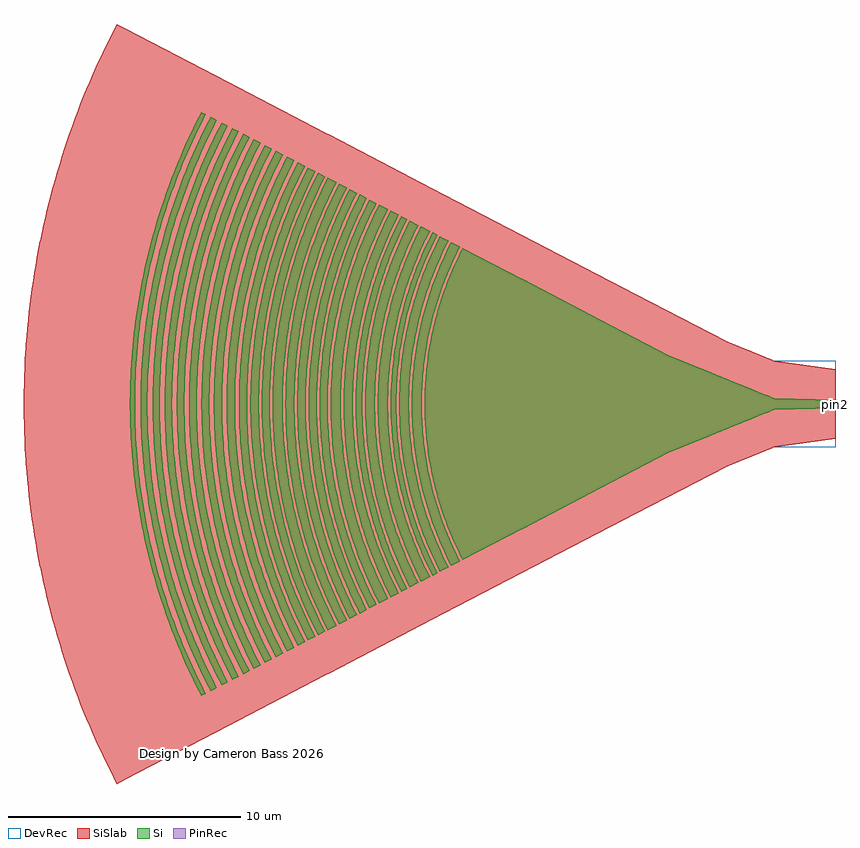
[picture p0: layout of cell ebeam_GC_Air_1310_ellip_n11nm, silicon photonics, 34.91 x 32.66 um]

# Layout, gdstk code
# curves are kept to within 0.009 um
import gdstk
lib = gdstk.Library(unit=1e-6, precision=1e-09)
def P(c, l, *ps):  # polygons
    for p in ps: c.add(gdstk.Polygon(p, *l))
Si = (1, 0)
PinRec = (1, 10)
SiSlab = (2, 0)
DevRec = (68, 0)

ebeam_gc_air_1310_ellip_ = lib.new_cell('ebeam_GC_Air_1310_ellip_n11nm')
P(ebeam_gc_air_1310_ellip_, Si, [(-16.043,-6.701),(-16.457,-5.836),(-16.774,-5.049),(-17.003,-4.381),(-17.267,-3.428),(-17.443,-2.599),(-17.57,-1.762),(-17.648,-0.917),(-17.676,-0.071),(-17.648,0.917),(-17.57,1.762),(-17.443,2.6),(-17.267,3.428),(-17.003,4.381),(-16.774,5.049),(-16.457,5.836),(-16.043,6.701),(-7.156,2.073),(-3.189,0.454),(-2.881,0.34),(-2.696,0.252),(-2.651,0.239),(0,0.175),(0,-0.175),(-2.664,-0.241),(-2.865,-0.333),(-3.204,-0.46),(-7.127,-2.06)],
  [(-16.535,-6.956),(-16.903,-6.194),(-17.24,-5.381),(-17.529,-4.55),(-17.768,-3.703),(-17.959,-2.844),(-18.099,-1.975),(-18.198,-0.953),(-18.228,-0.073),(-18.207,0.806),(-18.134,1.684),(-18.011,2.555),(-17.837,3.419),(-17.613,4.269),(-17.342,5.106),(-16.962,6.061),(-16.535,6.957),(-16.152,6.757),(-16.511,6.014),(-16.888,5.092),(-17.161,4.282),(-17.386,3.458),(-17.563,2.622),(-17.691,1.776),(-17.778,0.784),(-17.798,0.071),(-17.778,-0.784),(-17.691,-1.776),(-17.563,-2.621),(-17.386,-3.458),(-17.161,-4.282),(-16.888,-5.092),(-16.511,-6.014),(-16.152,-6.757)],
  [(-17.016,-7.207),(-17.397,-6.418),(-17.746,-5.576),(-18.045,-4.715),(-18.293,-3.837),(-18.49,-2.947),(-18.635,-2.047),(-18.728,-1.139),(-18.755,-0.683),(-18.769,-0.076),(-18.747,0.835),(-18.672,1.745),(-18.615,2.197),(-18.518,2.797),(-18.329,3.689),(-18.175,4.278),(-18.044,4.715),(-17.746,5.576),(-17.397,6.418),(-17.016,7.207),(-16.643,7.013),(-17.014,6.245),(-17.405,5.287),(-17.689,4.445),(-17.923,3.59),(-18.106,2.722),(-18.239,1.844),(-18.32,0.961),(-18.35,0.074),(-18.329,-0.813),(-18.239,-1.844),(-18.106,-2.722),(-17.923,-3.59),(-17.689,-4.445),(-17.405,-5.287),(-17.074,-6.109),(-16.891,-6.514),(-16.643,-7.013)],
  [(-17.336,-7.374),(-17.726,-6.566),(-18.083,-5.705),(-18.389,-4.824),(-18.643,-3.926),(-18.845,-3.015),(-18.926,-2.555),(-19.013,-1.94),(-19.099,-1.01),(-19.13,-0.078),(-19.108,0.855),(-19.013,1.94),(-18.873,2.862),(-18.68,3.775),(-18.434,4.675),(-18.138,5.559),(-17.789,6.425),(-17.336,7.374),(-17.125,7.263),(-17.57,6.328),(-17.804,5.763),(-17.965,5.333),(-18.293,4.311),(-18.412,3.868),(-18.55,3.27),(-18.714,2.366),(-18.81,1.606),(-18.869,0.843),(-18.891,0.077),(-18.869,-0.843),(-18.81,-1.606),(-18.714,-2.366),(-18.55,-3.27),(-18.412,-3.867),(-18.293,-4.311),(-17.965,-5.332),(-17.57,-6.328),(-17.125,-7.263)],
  [(-17.832,-7.632),(-18.3,-6.65),(-18.661,-5.754),(-18.968,-4.839),(-19.222,-3.907),(-19.422,-2.962),(-19.566,-2.008),(-19.655,-1.045),(-19.688,-0.08),(-19.664,0.885),(-19.585,1.848),(-19.45,2.804),(-19.329,3.437),(-19.222,3.907),(-18.968,4.839),(-18.661,5.754),(-18.3,6.65),(-17.832,7.632),(-17.445,7.43),(-17.837,6.618),(-18.196,5.749),(-18.505,4.86),(-18.762,3.957),(-18.994,2.884),(-19.134,1.954),(-19.198,1.331),(-19.23,0.862),(-19.252,0.078),(-19.23,-0.862),(-19.198,-1.331),(-19.134,-1.954),(-18.994,-2.884),(-18.799,-3.804),(-18.552,-4.711),(-18.251,-5.602),(-17.901,-6.474),(-17.445,-7.43)],
  [(-18.312,-7.882),(-18.59,-7.321),(-18.796,-6.867),(-19.168,-5.942),(-19.487,-4.997),(-19.748,-4.034),(-19.954,-3.059),(-20.104,-2.073),(-20.195,-1.08),(-20.229,-0.083),(-20.205,0.914),(-20.123,1.908),(-19.983,2.895),(-19.787,3.873),(-19.487,4.997),(-19.168,5.942),(-18.796,6.868),(-18.59,7.321),(-18.312,7.882),(-17.942,7.689),(-18.348,6.847),(-18.54,6.401),(-18.776,5.797),(-19.087,4.875),(-19.343,3.937),(-19.544,2.984),(-19.689,2.022),(-19.779,1.054),(-19.812,0.081),(-19.788,-0.892),(-19.708,-1.861),(-19.572,-2.825),(-19.483,-3.303),(-19.343,-3.936),(-19.087,-4.874),(-18.776,-5.797),(-18.54,-6.4),(-18.348,-6.847),(-17.942,-7.689)],
  [(-18.674,-8.07),(-19.101,-7.185),(-19.492,-6.242),(-19.827,-5.278),(-20.018,-4.625),(-20.145,-4.13),(-20.356,-3.132),(-20.509,-2.122),(-20.603,-1.105),(-20.637,-0.085),(-20.613,0.935),(-20.529,1.954),(-20.386,2.964),(-20.258,3.633),(-20.145,4.13),(-20.018,4.625),(-19.826,5.278),(-19.492,6.242),(-19.101,7.186),(-18.674,8.07),(-18.421,7.939),(-18.841,7.07),(-19.102,6.453),(-19.34,5.828),(-19.503,5.352),(-19.698,4.712),(-19.828,4.227),(-19.979,3.574),(-20.158,2.586),(-20.263,1.755),(-20.328,0.921),(-20.352,0.084),(-20.328,-0.921),(-20.263,-1.755),(-20.158,-2.586),(-20.013,-3.41),(-19.907,-3.9),(-19.743,-4.55),(-19.604,-5.032),(-19.396,-5.67),(-19.164,-6.297),(-18.975,-6.762),(-18.701,-7.374),(-18.421,-7.938)],
  [(-19.132,-8.309),(-19.426,-7.716),(-19.643,-7.238),(-20.036,-6.263),(-20.37,-5.267),(-20.647,-4.252),(-20.864,-3.224),(-21.022,-2.185),(-21.118,-1.138),(-21.154,-0.088),(-21.144,0.614),(-21.118,1.138),(-21.022,2.185),(-20.864,3.224),(-20.647,4.252),(-20.37,5.267),(-20.036,6.263),(-19.643,7.239),(-19.426,7.716),(-19.132,8.309),(-18.784,8.127),(-19.214,7.236),(-19.482,6.605),(-19.666,6.126),(-19.995,5.151),(-20.266,4.16),(-20.478,3.154),(-20.632,2.137),(-20.726,1.114),(-20.761,0.086),(-20.736,-0.943),(-20.652,-1.967),(-20.508,-2.985),(-20.414,-3.49),(-20.266,-4.16),(-19.995,-5.151),(-19.666,-6.126),(-19.482,-6.605),(-19.214,-7.236),(-18.784,-8.127)],
  [(-19.631,-8.569),(-20.083,-7.631),(-20.498,-6.63),(-20.853,-5.606),(-21.148,-4.562),(-21.382,-3.504),(-21.555,-2.433),(-21.665,-1.354),(-21.696,-0.814),(-21.714,-0.09),(-21.688,0.993),(-21.598,2.075),(-21.447,3.148),(-21.311,3.858),(-21.191,4.387),(-20.906,5.433),(-20.741,5.95),(-20.498,6.63),(-20.083,7.631),(-19.631,8.569),(-19.242,8.366),(-19.684,7.449),(-20.089,6.471),(-20.269,5.974),(-20.489,5.303),(-20.725,4.453),(-20.953,3.42),(-21.122,2.375),(-21.2,1.674),(-21.241,1.146),(-21.277,0.088),(-21.272,-0.441),(-21.241,-1.146),(-21.144,-2.199),(-20.986,-3.246),(-20.767,-4.282),(-20.489,-5.302),(-20.269,-5.974),(-20.089,-6.471),(-19.756,-7.287),(-19.537,-7.769),(-19.242,-8.366)],
  [(-20.046,-8.785),(-20.511,-7.821),(-20.936,-6.795),(-21.301,-5.745),(-21.603,-4.675),(-21.843,-3.591),(-22.02,-2.494),(-22.133,-1.388),(-22.165,-0.833),(-22.183,-0.093),(-22.156,1.018),(-22.065,2.126),(-21.995,2.677),(-21.877,3.409),(-21.647,4.496),(-21.459,5.213),(-21.301,5.745),(-21.001,6.621),(-20.586,7.653),(-20.356,8.158),(-20.046,8.785),(-19.744,8.627),(-19.969,8.177),(-20.273,7.516),(-20.484,7.013),(-20.742,6.333),(-20.974,5.643),(-21.18,4.945),(-21.315,4.417),(-21.473,3.705),(-21.63,2.81),(-21.744,1.907),(-21.815,1.001),(-21.841,0.091),(-21.831,-0.636),(-21.762,-1.726),(-21.657,-2.63),(-21.473,-3.705),(-21.315,-4.416),(-21.18,-4.945),(-20.974,-5.642),(-20.742,-6.333),(-20.484,-7.012),(-20.273,-7.515),(-19.969,-8.177),(-19.744,-8.627)],
  [(-20.466,-9.004),(-20.944,-8.014),(-21.38,-6.962),(-21.753,-5.887),(-22.063,-4.791),(-22.194,-4.237),(-22.344,-3.493),(-22.514,-2.367),(-22.619,-1.233),(-22.658,-0.095),(-22.63,1.043),(-22.536,2.179),(-22.377,3.306),(-22.273,3.866),(-22.108,4.607),(-21.916,5.341),(-21.753,5.887),(-21.38,6.962),(-20.944,8.015),(-20.466,9.004),(-20.156,8.842),(-20.468,8.211),(-20.773,7.53),(-21.051,6.839),(-21.242,6.313),(-21.473,5.604),(-21.628,5.067),(-21.768,4.525),(-21.929,3.797),(-22.09,2.879),(-22.207,1.954),(-22.279,1.025),(-22.306,0.093),(-22.288,-0.838),(-22.225,-1.769),(-22.117,-2.695),(-21.929,-3.797),(-21.768,-4.525),(-21.628,-5.067),(-21.418,-5.782),(-21.242,-6.313),(-20.984,-7.012),(-20.773,-7.53),(-20.468,-8.211),(-20.156,-8.842)],
  [(-20.901,-9.23),(-21.392,-8.212),(-21.838,-7.135),(-22.221,-6.033),(-22.539,-4.91),(-22.673,-4.342),(-22.827,-3.579),(-23.002,-2.426),(-23.109,-1.263),(-23.148,-0.097),(-23.143,0.487),(-23.109,1.263),(-23.002,2.426),(-22.827,3.58),(-22.585,4.721),(-22.278,5.847),(-21.907,6.953),(-21.471,8.036),(-21.145,8.742),(-20.901,9.23),(-20.58,9.062),(-20.902,8.412),(-21.214,7.714),(-21.499,7.006),(-21.695,6.468),(-21.932,5.741),(-22.091,5.191),(-22.234,4.636),(-22.399,3.89),(-22.564,2.95),(-22.684,2.002),(-22.758,1.051),(-22.786,0.096),(-22.767,-0.859),(-22.703,-1.812),(-22.592,-2.761),(-22.399,-3.89),(-22.234,-4.636),(-22.091,-5.191),(-21.932,-5.741),(-21.695,-6.468),(-21.499,-7.006),(-21.214,-7.714),(-20.902,-8.412),(-20.58,-9.062)],
  [(-21.352,-9.465),(-21.689,-8.785),(-21.936,-8.24),(-22.168,-7.688),(-22.383,-7.13),(-22.706,-6.187),(-22.93,-5.421),(-23.079,-4.841),(-23.327,-3.671),(-23.506,-2.488),(-23.616,-1.295),(-23.645,-0.698),(-23.656,-0.1),(-23.651,0.499),(-23.616,1.296),(-23.506,2.488),(-23.327,3.671),(-23.079,4.841),(-22.93,5.421),(-22.706,6.187),(-22.383,7.13),(-22.168,7.689),(-21.936,8.241),(-21.689,8.785),(-21.352,9.465),(-21.01,9.286),(-21.256,8.796),(-21.583,8.084),(-21.81,7.543),(-22.088,6.812),(-22.278,6.256),(-22.507,5.507),(-22.705,4.75),(-22.875,3.986),(-23.044,3.023),(-23.167,2.051),(-23.243,1.076),(-23.271,0.098),(-23.252,-0.88),(-23.186,-1.857),(-23.073,-2.829),(-22.875,-3.985),(-22.705,-4.75),(-22.507,-5.507),(-22.338,-6.069),(-22.088,-6.812),(-21.81,-7.543),(-21.583,-8.084),(-21.34,-8.619),(-21.01,-9.286)],
  [(-21.84,-9.718),(-22.096,-9.207),(-22.438,-8.463),(-22.676,-7.896),(-22.897,-7.322),(-23.229,-6.354),(-23.459,-5.567),(-23.612,-4.972),(-23.748,-4.373),(-23.866,-3.77),(-24.05,-2.555),(-24.163,-1.33),(-24.193,-0.717),(-24.204,-0.102),(-24.175,1.126),(-24.074,2.352),(-23.967,3.163),(-23.866,3.77),(-23.748,4.373),(-23.612,4.972),(-23.459,5.568),(-23.229,6.354),(-22.897,7.323),(-22.676,7.896),(-22.438,8.463),(-22.096,9.207),(-21.84,9.719),(-21.461,9.521),(-21.967,8.473),(-22.281,7.734),(-22.498,7.173),(-22.882,6.032),(-23.199,4.871),(-23.448,3.693),(-23.628,2.502),(-23.692,1.904),(-23.738,1.304),(-23.779,0.1),(-23.76,-0.902),(-23.692,-1.904),(-23.575,-2.901),(-23.411,-3.89),(-23.29,-4.479),(-23.101,-5.26),(-22.882,-6.032),(-22.633,-6.795),(-22.355,-7.548),(-22.128,-8.105),(-21.8,-8.838),(-21.461,-9.521)],
  [(-22.254,-9.934),(-22.516,-9.41),(-22.866,-8.65),(-23.262,-7.68),(-23.674,-6.494),(-23.853,-5.892),(-24.066,-5.082),(-24.325,-3.853),(-24.428,-3.233),(-24.513,-2.611),(-24.58,-1.986),(-24.629,-1.36),(-24.659,-0.733),(-24.671,-0.105),(-24.665,0.524),(-24.641,1.151),(-24.538,2.403),(-24.459,3.026),(-24.362,3.647),(-24.247,4.265),(-24.066,5.082),(-23.735,6.294),(-23.544,6.892),(-23.262,7.68),(-23.03,8.265),(-22.781,8.842),(-22.254,9.934),(-21.949,9.775),(-22.295,9.075),(-22.55,8.512),(-22.865,7.751),(-23.082,7.172),(-23.282,6.587),(-23.522,5.799),(-23.682,5.202),(-23.868,4.398),(-23.987,3.792),(-24.088,3.182),(-24.217,2.16),(-24.297,1.133),(-24.327,0.103),(-24.297,-1.133),(-24.217,-2.16),(-24.088,-3.182),(-23.987,-3.792),(-23.868,-4.398),(-23.682,-5.202),(-23.522,-5.798),(-23.345,-6.39),(-23.082,-7.172),(-22.789,-7.942),(-22.55,-8.511),(-22.295,-9.075),(-21.949,-9.775)],
  [(-22.688,-10.16),(-22.958,-9.622),(-23.229,-9.039),(-23.484,-8.45),(-23.721,-7.853),(-24.142,-6.64),(-24.383,-5.818),(-24.543,-5.196),(-24.685,-4.57),(-24.808,-3.94),(-24.914,-3.306),(-25.001,-2.67),(-25.069,-2.031),(-25.119,-1.39),(-25.15,-0.75),(-25.162,-0.107),(-25.156,0.536),(-25.131,1.177),(-25.088,1.818),(-25.026,2.457),(-24.945,3.095),(-24.846,3.729),(-24.685,4.57),(-24.543,5.196),(-24.383,5.818),(-24.204,6.436),(-24.009,7.048),(-23.796,7.653),(-23.565,8.252),(-23.316,8.845),(-22.958,9.622),(-22.688,10.16),(-22.366,9.992),(-22.721,9.275),(-22.982,8.699),(-23.304,7.921),(-23.525,7.33),(-23.794,6.531),(-23.975,5.926),(-24.139,5.316),(-24.329,4.495),(-24.521,3.461),(-24.664,2.417),(-24.755,1.368),(-24.786,0.737),(-24.798,0.105),(-24.778,-0.947),(-24.741,-1.578),(-24.686,-2.207),(-24.554,-3.252),(-24.329,-4.495),(-24.139,-5.316),(-23.975,-5.926),(-23.794,-6.531),(-23.525,-7.33),(-23.304,-7.921),(-22.982,-8.699),(-22.721,-9.275),(-22.366,-9.992)],
  [(-23.12,-10.385),(-23.399,-9.829),(-23.676,-9.234),(-23.936,-8.632),(-24.179,-8.022),(-24.61,-6.783),(-24.967,-5.52),(-25.118,-4.883),(-25.251,-4.24),(-25.365,-3.593),(-25.46,-2.944),(-25.536,-2.293),(-25.608,-1.42),(-25.64,-0.766),(-25.652,-0.109),(-25.646,0.547),(-25.621,1.202),(-25.576,1.857),(-25.513,2.51),(-25.43,3.161),(-25.291,4.025),(-25.164,4.669),(-25.019,5.308),(-24.797,6.155),(-24.61,6.783),(-24.256,7.818),(-24.019,8.43),(-23.765,9.035),(-23.494,9.632),(-23.12,10.385),(-22.814,10.226),(-23.179,9.487),(-23.532,8.701),(-23.776,8.103),(-24.002,7.498),(-24.277,6.681),(-24.463,6.062),(-24.682,5.229),(-24.825,4.598),(-25.022,3.54),(-25.115,2.9),(-25.19,2.258),(-25.273,1.185),(-25.305,0.108),(-25.284,-0.969),(-25.246,-1.614),(-25.19,-2.258),(-25.022,-3.54),(-24.825,-4.598),(-24.682,-5.229),(-24.463,-6.062),(-24.277,-6.681),(-24.002,-7.498),(-23.776,-8.103),(-23.446,-8.898),(-23.179,-9.487),(-22.814,-10.225)],
  [(-23.589,-10.63),(-23.878,-10.054),(-24.162,-9.446),(-24.428,-8.83),(-24.676,-8.206),(-24.906,-7.575),(-25.117,-6.939),(-25.309,-6.295),(-25.483,-5.647),(-25.638,-4.994),(-25.773,-4.337),(-25.925,-3.454),(-26.016,-2.79),(-26.087,-2.122),(-26.139,-1.453),(-26.172,-0.783),(-26.185,-0.112),(-26.178,0.56),(-26.152,1.23),(-26.107,1.9),(-26.042,2.568),(-25.957,3.234),(-25.853,3.897),(-25.685,4.776),(-25.536,5.43),(-25.369,6.08),(-25.182,6.725),(-24.978,7.365),(-24.755,7.997),(-24.513,8.623),(-24.253,9.242),(-23.975,9.853),(-23.589,10.63),(-23.272,10.464),(-23.649,9.703),(-23.922,9.101),(-24.178,8.492),(-24.491,7.669),(-24.705,7.043),(-24.963,6.2),(-25.187,5.348),(-25.333,4.703),(-25.535,3.62),(-25.684,2.528),(-25.747,1.871),(-25.792,1.212),(-25.824,0.11),(-25.803,-0.991),(-25.765,-1.651),(-25.707,-2.309),(-25.569,-3.403),(-25.46,-4.054),(-25.333,-4.703),(-25.187,-5.348),(-24.963,-6.2),(-24.705,-7.042),(-24.491,-7.668),(-24.178,-8.492),(-23.922,-9.101),(-23.649,-9.703),(-23.272,-10.464)],
  [(-24.072,-10.881),(-24.371,-10.286),(-24.661,-9.663),(-24.934,-9.033),(-25.188,-8.395),(-25.423,-7.75),(-25.639,-7.098),(-25.897,-6.22),(-26.068,-5.555),(-26.22,-4.886),(-26.353,-4.212),(-26.466,-3.534),(-26.559,-2.854),(-26.632,-2.171),(-26.685,-1.486),(-26.719,-0.801),(-26.732,-0.114),(-26.725,0.573),(-26.699,1.258),(-26.652,1.943),(-26.559,2.855),(-26.466,3.534),(-26.353,4.212),(-26.22,4.886),(-26.068,5.555),(-25.897,6.22),(-25.706,6.88),(-25.497,7.534),(-25.188,8.395),(-24.934,9.034),(-24.661,9.664),(-24.371,10.286),(-24.072,10.881),(-23.76,10.718),(-24.052,10.136),(-24.338,9.523),(-24.691,8.693),(-24.935,8.062),(-25.16,7.424),(-25.433,6.563),(-25.614,5.912),(-25.827,5.034),(-25.963,4.372),(-26.081,3.706),(-26.234,2.588),(-26.332,1.465),(-26.365,0.789),(-26.378,0.113),(-26.356,-1.014),(-26.316,-1.69),(-26.258,-2.364),(-26.116,-3.483),(-26.005,-4.15),(-25.874,-4.814),(-25.725,-5.474),(-25.495,-6.346),(-25.301,-6.994),(-25.012,-7.85),(-24.775,-8.483),(-24.429,-9.316),(-24.052,-10.136),(-23.76,-10.718)],
  [(-24.542,-11.126),(-24.85,-10.514),(-25.147,-9.877),(-25.426,-9.233),(-25.685,-8.581),(-25.926,-7.921),(-26.147,-7.256),(-26.41,-6.358),(-26.586,-5.678),(-26.741,-4.994),(-26.877,-4.305),(-26.992,-3.612),(-27.087,-2.918),(-27.162,-2.219),(-27.217,-1.519),(-27.251,-0.819),(-27.264,-0.117),(-27.251,0.819),(-27.217,1.52),(-27.162,2.22),(-27.087,2.918),(-26.992,3.612),(-26.877,4.305),(-26.741,4.994),(-26.586,5.678),(-26.41,6.358),(-26.147,7.256),(-25.926,7.921),(-25.685,8.581),(-25.426,9.234),(-25.147,9.878),(-24.85,10.514),(-24.542,11.126),(-24.241,10.969),(-24.643,10.16),(-24.93,9.529),(-25.198,8.891),(-25.526,8.029),(-25.821,7.154),(-26.02,6.492),(-26.2,5.823),(-26.408,4.924),(-26.62,3.791),(-26.776,2.647),(-26.877,1.499),(-26.91,0.807),(-26.923,0.115),(-26.917,-0.576),(-26.89,-1.269),(-26.8,-2.418),(-26.72,-3.105),(-26.62,-3.791),(-26.408,-4.924),(-26.2,-5.823),(-26.02,-6.491),(-25.821,-7.154),(-25.526,-8.029),(-25.198,-8.891),(-24.93,-9.529),(-24.643,-10.16),(-24.241,-10.969)],
  [(-25.015,-11.372),(-25.331,-10.744),(-25.635,-10.094),(-25.919,-9.436),(-26.185,-8.769),(-26.43,-8.095),(-26.656,-7.415),(-26.862,-6.727),(-27.048,-6.034),(-27.264,-5.103),(-27.403,-4.399),(-27.52,-3.691),(-27.618,-2.982),(-27.694,-2.268),(-27.75,-1.553),(-27.785,-0.837),(-27.799,-0.12),(-27.792,0.598),(-27.764,1.314),(-27.715,2.03),(-27.646,2.744),(-27.555,3.455),(-27.403,4.399),(-27.264,5.104),(-27.105,5.802),(-26.926,6.497),(-26.726,7.187),(-26.508,7.869),(-26.185,8.769),(-25.919,9.436),(-25.635,10.094),(-25.331,10.744),(-25.015,11.372),(-24.721,11.219),(-25.134,10.388),(-25.427,9.743),(-25.701,9.091),(-26.037,8.21),(-26.266,7.54),(-26.477,6.864),(-26.667,6.183),(-26.889,5.265),(-27.117,4.109),(-27.226,3.41),(-27.315,2.707),(-27.384,2.003),(-27.432,1.297),(-27.466,0.118),(-27.459,-0.589),(-27.432,-1.297),(-27.34,-2.472),(-27.192,-3.643),(-27.076,-4.341),(-26.939,-5.035),(-26.726,-5.954),(-26.542,-6.637),(-26.339,-7.315),(-26.037,-8.21),(-25.701,-9.091),(-25.427,-9.743),(-25.134,-10.388),(-24.721,-11.218)],
  [(-25.477,-11.612),(-25.8,-10.97),(-26.11,-10.306),(-26.4,-9.634),(-26.671,-8.953),(-26.922,-8.265),(-27.153,-7.571),(-27.363,-6.869),(-27.553,-6.161),(-27.774,-5.211),(-27.915,-4.492),(-28.036,-3.769),(-28.135,-3.044),(-28.213,-2.316),(-28.27,-1.585),(-28.305,-0.855),(-28.32,-0.122),(-28.305,0.855),(-28.27,1.585),(-28.213,2.316),(-28.135,3.044),(-28.036,3.769),(-27.915,4.492),(-27.774,5.211),(-27.611,5.924),(-27.428,6.634),(-27.225,7.337),(-27.002,8.034),(-26.757,8.725),(-26.493,9.408),(-26.209,10.084),(-25.8,10.97),(-25.477,11.612),(-25.195,11.465),(-25.618,10.615),(-25.917,9.956),(-26.287,9.066),(-26.541,8.389),(-26.849,7.475),(-27.057,6.783),(-27.245,6.084),(-27.412,5.38),(-27.558,4.672),(-27.684,3.961),(-27.847,2.766),(-27.917,2.047),(-27.966,1.326),(-28.001,0.121),(-27.978,-1.084),(-27.936,-1.806),(-27.873,-2.526),(-27.789,-3.244),(-27.684,-3.96),(-27.463,-5.144),(-27.303,-5.85),(-27.057,-6.782),(-26.849,-7.475),(-26.541,-8.389),(-26.287,-9.066),(-25.917,-9.956),(-25.618,-10.615),(-25.195,-11.465)],
  [(-25.942,-11.854),(-26.272,-11.198),(-26.589,-10.52),(-26.885,-9.835),(-27.162,-9.14),(-27.418,-8.437),(-27.654,-7.728),(-27.868,-7.012),(-28.062,-6.289),(-28.287,-5.319),(-28.432,-4.585),(-28.554,-3.847),(-28.656,-3.107),(-28.736,-2.364),(-28.794,-1.618),(-28.83,-0.872),(-28.844,-0.125),(-28.83,0.872),(-28.794,1.618),(-28.736,2.364),(-28.656,3.108),(-28.554,3.848),(-28.432,4.585),(-28.287,5.319),(-28.121,6.047),(-27.935,6.772),(-27.727,7.49),(-27.499,8.202),(-27.25,8.906),(-26.98,9.604),(-26.69,10.293),(-26.38,10.973),(-25.942,11.855),(-25.665,11.71),(-25.991,11.063),(-26.403,10.168),(-26.689,9.487),(-27.04,8.567),(-27.279,7.868),(-27.568,6.927),(-27.759,6.214),(-27.982,5.254),(-28.207,4.045),(-28.374,2.825),(-28.446,2.09),(-28.496,1.354),(-28.532,0.123),(-28.524,-0.615),(-28.496,-1.354),(-28.4,-2.58),(-28.245,-3.801),(-28.124,-4.529),(-27.982,-5.254),(-27.818,-5.975),(-27.568,-6.926),(-27.355,-7.633),(-27.04,-8.567),(-26.689,-9.487),(-26.403,-10.167),(-25.991,-11.062),(-25.665,-11.71)],
  [(-26.401,-12.093),(-26.738,-11.423),(-27.061,-10.732),(-27.363,-10.032),(-27.645,-9.323),(-27.907,-8.606),(-28.147,-7.883),(-28.365,-7.152),(-28.563,-6.416),(-28.739,-5.674),(-28.894,-4.927),(-29.027,-4.176),(-29.137,-3.422),(-29.226,-2.664),(-29.293,-1.904),(-29.347,-0.89),(-29.362,-0.127),(-29.354,0.636),(-29.325,1.397),(-29.273,2.158),(-29.199,2.918),(-29.103,3.673),(-28.941,4.677),(-28.793,5.426),(-28.624,6.169),(-28.434,6.908),(-28.223,7.641),(-27.989,8.367),(-27.735,9.085),(-27.46,9.797),(-27.164,10.5),(-26.848,11.194),(-26.401,12.093),(-26.134,11.954),(-26.576,11.066),(-26.888,10.379),(-27.273,9.451),(-27.538,8.746),(-27.782,8.032),(-28.077,7.071),(-28.272,6.343),(-28.446,5.609),(-28.599,4.871),(-28.73,4.129),(-28.9,2.884),(-29.01,1.633),(-29.046,0.879),(-29.061,0.126),(-29.053,-0.628),(-29.024,-1.382),(-28.927,-2.634),(-28.839,-3.382),(-28.73,-4.129),(-28.599,-4.871),(-28.446,-5.609),(-28.272,-6.343),(-28.007,-7.312),(-27.782,-8.031),(-27.538,-8.745),(-27.273,-9.451),(-26.888,-10.379),(-26.576,-11.066),(-26.134,-11.954)],
  [(-26.871,-12.338),(-27.32,-11.434),(-27.642,-10.726),(-27.944,-10.007),(-28.225,-9.28),(-28.484,-8.546),(-28.721,-7.805),(-28.937,-7.056),(-29.132,-6.301),(-29.304,-5.542),(-29.454,-4.778),(-29.582,-4.009),(-29.688,-3.238),(-29.77,-2.463),(-29.831,-1.686),(-29.869,-0.909),(-29.884,-0.13),(-29.869,0.909),(-29.831,1.686),(-29.77,2.463),(-29.688,3.238),(-29.582,4.009),(-29.454,4.778),(-29.304,5.543),(-29.132,6.301),(-28.937,7.056),(-28.721,7.805),(-28.484,8.547),(-28.225,9.281),(-27.944,10.007),(-27.642,10.726),(-27.32,11.434),(-26.871,12.339),(-26.601,12.198),(-27.052,11.291),(-27.371,10.59),(-27.764,9.643),(-28.034,8.923),(-28.283,8.195),(-28.512,7.46),(-28.783,6.472),(-28.96,5.723),(-29.208,4.465),(-29.327,3.706),(-29.424,2.942),(-29.498,2.177),(-29.55,1.41),(-29.588,0.128),(-29.563,-1.153),(-29.518,-1.921),(-29.451,-2.687),(-29.29,-3.959),(-29.163,-4.718),(-29.015,-5.472),(-28.783,-6.471),(-28.583,-7.214),(-28.362,-7.951),(-28.034,-8.923),(-27.764,-9.643),(-27.371,-10.59),(-27.052,-11.291),(-26.601,-12.197)],
  [(-27.269,-12.546),(-27.619,-11.848),(-27.954,-11.131),(-28.267,-10.406),(-28.559,-9.67),(-28.816,-8.968),(-29.079,-8.177),(-29.305,-7.419),(-29.51,-6.655),(-29.692,-5.886),(-29.852,-5.111),(-29.99,-4.331),(-30.105,-3.549),(-30.222,-2.501),(-30.278,-1.793),(-30.322,-0.923),(-30.337,-0.132),(-30.329,0.659),(-30.299,1.449),(-30.245,2.239),(-30.138,3.288),(-30.031,4.071),(-29.901,4.852),(-29.748,5.628),(-29.573,6.399),(-29.376,7.165),(-29.156,7.925),(-28.916,8.678),(-28.652,9.424),(-28.367,10.162),(-28.061,10.891),(-27.733,11.611),(-27.269,12.546),(-27.08,12.447),(-27.419,11.771),(-27.751,11.059),(-28.161,10.095),(-28.444,9.362),(-28.706,8.622),(-28.947,7.873),(-29.233,6.865),(-29.421,6.103),(-29.686,4.82),(-29.815,4.045),(-29.921,3.266),(-30.005,2.485),(-30.066,1.702),(-30.104,0.916),(-30.119,0.131),(-30.094,-1.178),(-30.048,-1.963),(-29.979,-2.745),(-29.888,-3.525),(-29.774,-4.304),(-29.638,-5.077),(-29.479,-5.846),(-29.298,-6.612),(-29.095,-7.37),(-28.869,-8.123),(-28.534,-9.116),(-28.258,-9.852),(-27.857,-10.819),(-27.532,-11.535),(-27.08,-12.447)])
P(ebeam_gc_air_1310_ellip_, SiSlab, [(-30.904,-16.329),(-31.366,-15.41),(-31.801,-14.477),(-32.208,-13.533),(-32.588,-12.577),(-32.94,-11.61),(-33.264,-10.634),(-33.559,-9.648),(-33.825,-8.655),(-34.062,-7.654),(-34.27,-6.647),(-34.449,-5.634),(-34.598,-4.616),(-34.717,-3.594),(-34.807,-2.569),(-34.867,-1.543),(-34.9,-0.171),(-34.89,0.857),(-34.85,1.885),(-34.781,2.912),(-34.681,3.935),(-34.552,4.956),(-34.393,5.972),(-34.135,7.319),(-33.907,8.322),(-33.651,9.318),(-33.365,10.307),(-33.051,11.286),(-32.709,12.256),(-32.338,13.216),(-31.94,14.164),(-31.366,15.41),(-30.904,16.329),(-4.744,2.708),(-2.65,1.855),(0,1.5),(0,-1.5),(-2.65,-1.855),(-4.728,-2.7)])
P(ebeam_gc_air_1310_ellip_, DevRec, [(-30.904,-16.329),(-31.366,-15.41),(-31.801,-14.477),(-32.208,-13.533),(-32.588,-12.577),(-32.94,-11.61),(-33.264,-10.634),(-33.559,-9.648),(-33.825,-8.655),(-34.062,-7.654),(-34.27,-6.647),(-34.449,-5.634),(-34.598,-4.616),(-34.717,-3.594),(-34.807,-2.569),(-34.867,-1.543),(-34.9,-0.171),(-34.89,0.857),(-34.85,1.885),(-34.781,2.912),(-34.681,3.935),(-34.552,4.956),(-34.393,5.972),(-34.135,7.319),(-33.907,8.322),(-33.651,9.318),(-33.365,10.307),(-33.051,11.286),(-32.709,12.256),(-32.338,13.216),(-31.94,14.164),(-31.366,15.41),(-30.904,16.329),(-4.744,2.708),(-2.65,1.855),(0,1.855),(0,-1.855),(-2.65,-1.855),(-4.728,-2.7)])
ebeam_gc_air_1310_ellip_.add(gdstk.FlexPath([(-0.01,0),(0.01,0)], 0.35, ends="flush", simple_path=True, layer=1, datatype=10))  # PinRec
ebeam_gc_air_1310_ellip_.add(gdstk.Label('pin2', (0,0), layer=1, texttype=10))
ebeam_gc_air_1310_ellip_.add(gdstk.Label('Design by Cameron Bass 2026', (-25.94,-15.02), layer=10, texttype=0))

lib.write_gds('ebeam_GC_Air_1310_ellip_n11nm.gds')
